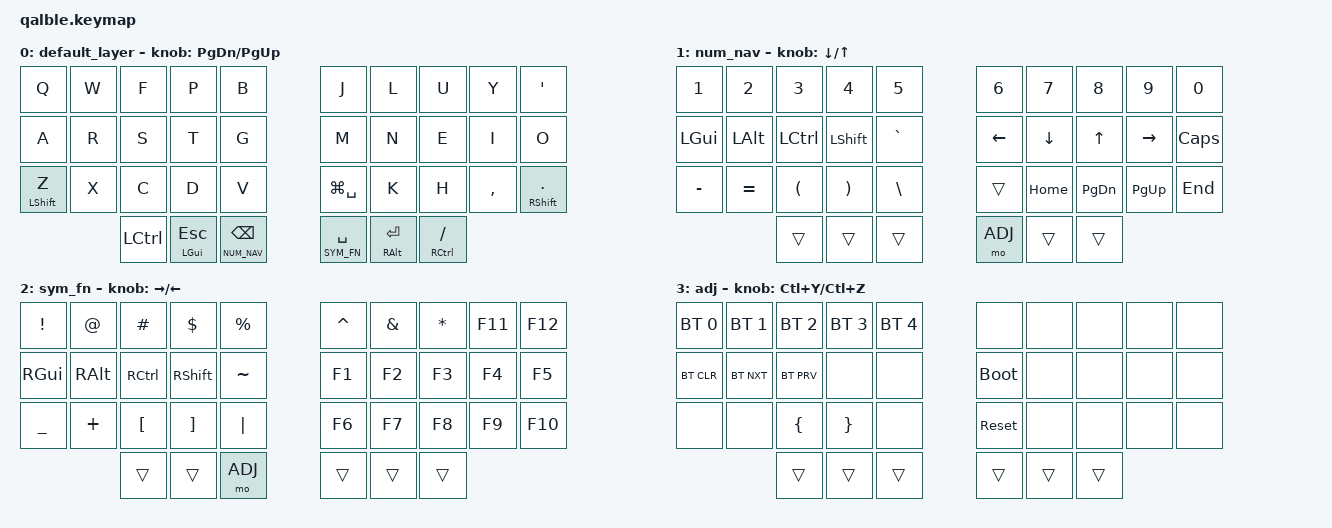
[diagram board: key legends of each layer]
#include <behaviors.dtsi>
#include <dt-bindings/zmk/keys.h>
#include <dt-bindings/zmk/bt.h>

#define DEFAULT 0
#define NUM_NAV 1
#define SYM_FN  2
#define ADJ     3

/ {
    combos {
        compatible = "zmk,combos";

        combo_clkCaps {
            bindings = <&kp CAPS>;
            key-positions = <7 21 26>;
        };

        combo_wfEsc {
            bindings = <&kp ESC>;
            key-positions = <1 2>;
        };

        combo_fpTab {
            bindings = <&kp TAB>;
            key-positions = <2 3>;
        };

        combo_luDel {
            bindings = <&kp DEL>;
            key-positions = <6 7>;
        };

        combo_uyBspc {
            bindings = <&kp BSPC>;
            key-positions = <7 8>;
        };

        combo_yQuotScln {
            bindings = <&kp SEMI>;
            key-positions = <8 9>;
        };

        combo_khCol {
            bindings = <&kp COLON>;
            key-positions = <26 27>;
        };

        combo_hCommEnt {
            bindings = <&kp RET>;
            key-positions = <27 28>;
        };
    };

    behaviors {
        mtp: mod_tap_preferred {
            compatible = "zmk,behavior-hold-tap";
            label = "MOD_TAP_PREFERRED";
            #binding-cells = <2>;
            tapping-term-ms = <200>;
            flavor = "tap-preferred";
            bindings = <&kp>, <&kp>;
        };
    };

    keymap {
        compatible = "zmk,keymap";

        default_layer {
            bindings = <
    &kp Q          &kp W      &kp F       &kp P        &kp B             &kp J          &kp L    &kp U       &kp Y      &kp SQT
    &kp A          &kp R      &kp S       &kp T        &kp G             &kp M          &kp N    &kp E       &kp I      &kp O
    &mtp LSHFT Z   &kp X      &kp C       &kp D        &kp V             &kp LG(SPACE)  &kp K    &kp H       &kp COMMA  &mtp RSHFT DOT
    &kp LCTRL                 &mtp LGUI ESC            &lt NUM_NAV BSPC  &lt SYM_FN SPACE        &mtp RALT RET          &mtp RCTRL FSLH
            >;
            sensor-bindings = <&inc_dec_kp PG_DN PG_UP>;
        };

        num_nav {
            bindings = <
    &kp N1     &kp N2     &kp N3     &kp N4     &kp N5              &kp N6     &kp N7       &kp N8      &kp N9       &kp N0
    &kp LGUI   &kp LALT   &kp LCTRL  &kp LSHFT  &kp GRAVE           &kp LEFT   &kp DOWN     &kp UP      &kp RIGHT    &kp CAPS
    &kp MINUS  &kp EQUAL  &kp LPAR   &kp RPAR   &kp BSLH            &trans     &kp HOME     &kp PG_DN   &kp PG_UP    &kp END
    &trans                &trans                &trans              &mo ADJ                 &trans                   &trans
            >;
            sensor-bindings = <&inc_dec_kp DOWN UP>;
        };

        sym_fn {
            bindings = <
    &kp EXCL    &kp AT     &kp HASH   &kp DLLR    &kp PRCNT          &kp CARET   &kp AMPS    &kp ASTRK   &kp F11    &kp F12
    &kp RGUI    &kp RALT   &kp RCTRL  &kp RSHFT   &kp TILDE          &kp F1      &kp F2      &kp F3      &kp F4     &kp F5
    &kp UNDER   &kp PLUS   &kp LBKT   &kp RBKT    &kp PIPE           &kp F6      &kp F7      &kp F8      &kp F9     &kp F10
    &trans                 &trans                 &mo ADJ            &trans                  &trans                 &trans
            >;
            sensor-bindings = <&inc_dec_kp RIGHT LEFT>;
        };

        adj {
            bindings = <
    &bt BT_SEL 0  &bt BT_SEL 1  &bt BT_SEL 2  &bt BT_SEL 3  &bt BT_SEL 4          &none         &none   &none   &none   &none
    &bt BT_CLR    &bt BT_NXT    &bt BT_PRV    &none         &none                 &bootloader   &none   &none   &none   &none
    &none         &none         &kp LBRC      &kp RBRC      &none                 &sys_reset    &none   &none   &none   &none
    &trans                      &trans                      &trans                &trans                &trans          &trans
            >;
            sensor-bindings = <&inc_dec_kp LC(Y) LC(Z)>;
        };
    };
};
